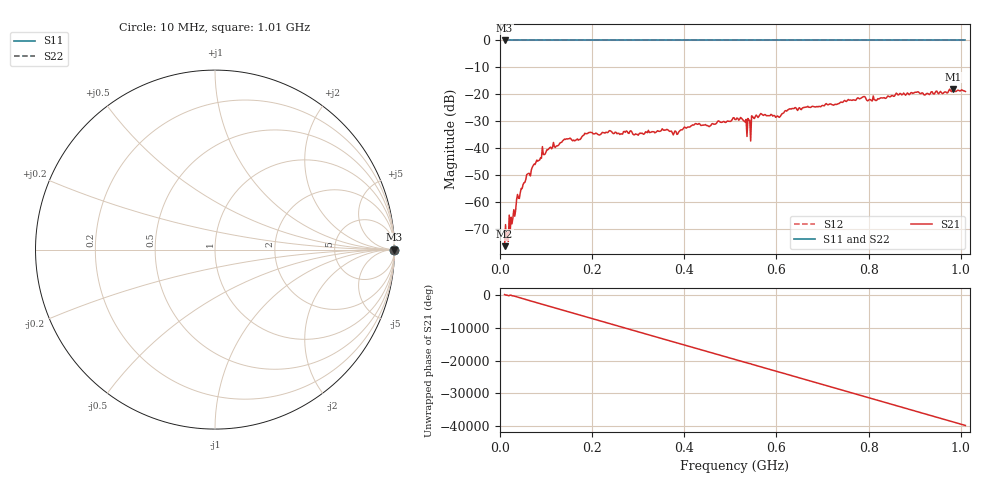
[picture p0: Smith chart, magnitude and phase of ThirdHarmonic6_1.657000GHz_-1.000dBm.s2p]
! 8/16/2025 7:51:06 PM
! C:\ANRITSUVNA\TEMP\TEMP.S2P
! CHANNEL.1
! TR.MEASUREMENT
! RAW.DATA
! RF.CORRECTION.OFF
! AVERAGING.OFF
! IF.BANDWIDTH: 5KHZ
! SWEEPTYPE:  FREQ.SWEEP(Linear)
! Reference Plane Port Info
! PORT:  PORT1  PORT2
! DISTANCE:  0  m  0  m
! TIME:  0  s  0  s
! PHASE.OFFSET:  0  deg.  0  deg.
! LOSS:  0  dB  0  dB
! REF.LOSS:  0  dB  0  dB
! REF.FREQ:  0  Hz  0  Hz
! Power Info
! POWER:  -20  dBm  -20  dBm
! EFF.POWER:  -20  dBm  -20  dBm
! SOURCE.ATTEN:  0  dB  0  dB
! TEST.ATTEN:  0  dB  0  dB
# GHZ S RI R 50.0
! FREQ.GHZ  S11RE  S11IM  S21RE  S21IM  S12RE  S12IM  S22RE  S22IM
!; PortSelection: Port_12
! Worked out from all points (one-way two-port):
!   501 points, 10 MHz to 1.01 GHz, reference 50 ohm
!   highest |S21| = -18.04 dB at 984 MHz (marker M1); lowest = -76.3 dB at 10 MHz (marker M2)
!   lowest |S11| = 0.0 dB at 10 MHz (marker M3)
!   |S11| at or under -10 dB: nowhere
!   |S22| runs from 0.0 to 0.0 dB; largest |S21 - S12| = 1.1
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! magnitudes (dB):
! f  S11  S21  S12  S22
! 10 MHz  0.0  -76.3  0.0  0.0
! 30 MHz  0.0  -62.7  0.0  0.0
! 40 MHz  0.0  -58.4  0.0  0.0
! 58 MHz  0.0  -49.7  0.0  0.0
! 76 MHz  0.0  -46.0  0.0  0.0
! 112 MHz  0.0  -40.2  0.0  0.0
! 178 MHz  0.0  -35.6  0.0  0.0
! 196 MHz  0.0  -34.1  0.0  0.0
! 344 MHz  0.0  -33.7  0.0  0.0
! 386 MHz  0.0  -34.6  0.0  0.0
! 422 MHz  0.0  -31.2  0.0  0.0
! 454 MHz  0.0  -32.0  0.0  0.0
! 510 MHz  0.0  -29.3  0.0  0.0
! 530 MHz  0.0  -30.0  0.0  0.0
! 540 MHz  0.0  -29.5  0.0  0.0
! 550 MHz  0.0  -28.7  0.0  0.0
! 604 MHz  0.0  -28.2  0.0  0.0
! 630 MHz  0.0  -25.3  0.0  0.0
! 678 MHz  0.0  -24.4  0.0  0.0
! 844 MHz  0.0  -20.8  0.0  0.0
! 984 MHz  0.0  -18.0  0.0  0.0
! 1.01 GHz  0.0  -18.9  0.0  0.0
